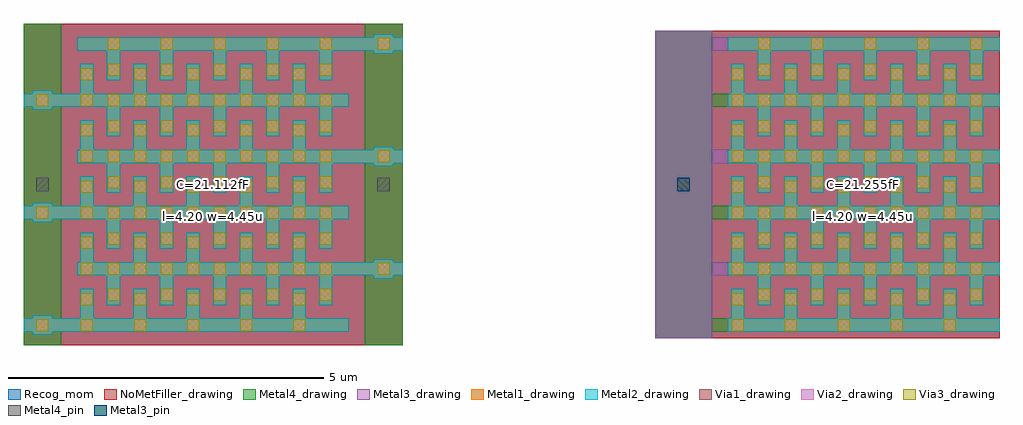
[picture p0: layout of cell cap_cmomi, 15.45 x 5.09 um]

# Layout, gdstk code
import gdstk
lib = gdstk.Library(unit=1e-6, precision=1e-09)
def R(c, l, rs):  # rectangles x0, y0, x1, y1
    for r in rs: c.add(gdstk.rectangle(r[:2], r[2:], *l))
def A(c, l, x, y, w, h, nx, ny, dx, dy):  # array of equal rectangles
    R(c, l, [(x+i*dx, y+j*dy, x+i*dx+w, y+j*dy+h) for i in range(nx) for j in range(ny)])
Metal1_drawing = (8, 0)
Metal2_drawing = (10, 0)
Via1_drawing = (19, 0)
Via2_drawing = (29, 0)
Metal3_drawing = (30, 0)
Metal3_pin = (30, 2)
Via3_drawing = (49, 0)
Metal4_drawing = (50, 0)
Metal4_pin = (50, 2)
Recog_mom = (99, 39)
NoMetFiller_drawing = (160, 0)

cap_cmomi = lib.new_cell('cap_cmomi')
A(cap_cmomi, Metal1_drawing, 0.145, -2.38, 0.31, 0.31, 1, 3, 0, 1.78)
A(cap_cmomi, Metal1_drawing, 0, -2.33, 5.15, 0.21, 1, 3, 0, 1.78)
A(cap_cmomi, Metal1_drawing, 11.15, -2.33, 4.3, 0.21, 1, 6, 0, 0.89)
A(cap_cmomi, Metal1_drawing, 0.9, -2.225, 0.21, 0.575, 5, 5, 0.84, 0.89)
A(cap_cmomi, Metal1_drawing, 11.2, -2.225, 0.21, 0.575, 5, 5, 0.84, 0.89)
A(cap_cmomi, Metal1_drawing, 1.32, -1.91, 0.21, 0.575, 5, 5, 0.84, 0.89)
A(cap_cmomi, Metal1_drawing, 11.62, -1.91, 0.21, 0.575, 5, 5, 0.84, 0.89)
A(cap_cmomi, Metal1_drawing, 5.545, -1.49, 0.31, 0.31, 1, 3, 0, 1.78)
A(cap_cmomi, Metal1_drawing, 0.85, -1.44, 5.15, 0.21, 1, 3, 0, 1.78)
A(cap_cmomi, Metal2_drawing, 0.145, -2.38, 0.31, 0.31, 1, 3, 0, 1.78)
A(cap_cmomi, Metal2_drawing, 0, -2.33, 5.15, 0.21, 1, 3, 0, 1.78)
A(cap_cmomi, Metal2_drawing, 11.15, -2.33, 4.3, 0.21, 1, 6, 0, 0.89)
A(cap_cmomi, Metal2_drawing, 0.9, -2.225, 0.21, 0.575, 5, 5, 0.84, 0.89)
A(cap_cmomi, Metal2_drawing, 11.2, -2.225, 0.21, 0.575, 5, 5, 0.84, 0.89)
A(cap_cmomi, Metal2_drawing, 1.32, -1.91, 0.21, 0.575, 5, 5, 0.84, 0.89)
A(cap_cmomi, Metal2_drawing, 11.62, -1.91, 0.21, 0.575, 5, 5, 0.84, 0.89)
A(cap_cmomi, Metal2_drawing, 5.545, -1.49, 0.31, 0.31, 1, 3, 0, 1.78)
A(cap_cmomi, Metal2_drawing, 0.85, -1.44, 5.15, 0.21, 1, 3, 0, 1.78)
A(cap_cmomi, Via1_drawing, 0.205, -2.32, 0.19, 0.19, 1, 3, 0, 1.78)
A(cap_cmomi, Via1_drawing, 0.91, -2.32, 0.19, 0.19, 5, 2, 0.84, 0.41)
A(cap_cmomi, Via1_drawing, 11.21, -2.32, 0.19, 0.19, 5, 2, 0.84, 0.41)
A(cap_cmomi, Via1_drawing, 1.33, -1.84, 0.19, 0.19, 5, 5, 0.84, 0.89)
A(cap_cmomi, Via1_drawing, 11.63, -1.84, 0.19, 0.19, 5, 5, 0.84, 0.89)
A(cap_cmomi, Via1_drawing, 0.91, -1.43, 0.19, 0.19, 10, 4, 0.42, 0.89)
A(cap_cmomi, Via1_drawing, 5.605, -1.43, 0.19, 0.19, 1, 3, 0, 1.78)
A(cap_cmomi, Via1_drawing, 11.21, -1.43, 0.19, 0.19, 10, 4, 0.42, 0.89)
A(cap_cmomi, Via1_drawing, 0.91, -1.02, 0.19, 0.19, 5, 4, 0.84, 0.89)
A(cap_cmomi, Via1_drawing, 11.21, -1.02, 0.19, 0.19, 5, 4, 0.84, 0.89)
A(cap_cmomi, Via1_drawing, 1.33, 2.13, 0.19, 0.19, 5, 1, 0.84, 0)
A(cap_cmomi, Via1_drawing, 11.63, 2.13, 0.19, 0.19, 5, 1, 0.84, 0)
A(cap_cmomi, Via2_drawing, 0.205, -2.32, 0.19, 0.19, 1, 3, 0, 1.78)
A(cap_cmomi, Via2_drawing, 0.91, -2.32, 0.19, 0.19, 5, 2, 0.84, 0.41)
A(cap_cmomi, Via2_drawing, 11.21, -2.32, 0.19, 0.19, 5, 2, 0.84, 0.41)
A(cap_cmomi, Via2_drawing, 1.33, -1.84, 0.19, 0.19, 5, 5, 0.84, 0.89)
A(cap_cmomi, Via2_drawing, 11.63, -1.84, 0.19, 0.19, 5, 5, 0.84, 0.89)
A(cap_cmomi, Via2_drawing, 0.91, -1.43, 0.19, 0.19, 10, 4, 0.42, 0.89)
A(cap_cmomi, Via2_drawing, 5.605, -1.43, 0.19, 0.19, 1, 3, 0, 1.78)
A(cap_cmomi, Via2_drawing, 11.21, -1.43, 0.19, 0.19, 10, 4, 0.42, 0.89)
A(cap_cmomi, Via2_drawing, 0.91, -1.02, 0.19, 0.19, 5, 4, 0.84, 0.89)
A(cap_cmomi, Via2_drawing, 11.21, -1.02, 0.19, 0.19, 5, 4, 0.84, 0.89)
A(cap_cmomi, Via2_drawing, 1.33, 2.13, 0.19, 0.19, 5, 1, 0.84, 0)
A(cap_cmomi, Via2_drawing, 11.63, 2.13, 0.19, 0.19, 5, 1, 0.84, 0)
A(cap_cmomi, Metal3_drawing, 0.145, -2.38, 0.31, 0.31, 1, 3, 0, 1.78)
A(cap_cmomi, Metal3_drawing, 0, -2.33, 5.15, 0.21, 1, 3, 0, 1.78)
A(cap_cmomi, Metal3_drawing, 11.15, -2.33, 4.3, 0.21, 1, 3, 0, 1.78)
A(cap_cmomi, Metal3_drawing, 0.9, -2.225, 0.21, 0.575, 5, 5, 0.84, 0.89)
A(cap_cmomi, Metal3_drawing, 11.2, -2.225, 0.21, 0.575, 5, 5, 0.84, 0.89)
A(cap_cmomi, Metal3_drawing, 1.32, -1.91, 0.21, 0.575, 5, 5, 0.84, 0.89)
A(cap_cmomi, Metal3_drawing, 11.62, -1.91, 0.21, 0.575, 5, 5, 0.84, 0.89)
A(cap_cmomi, Metal3_drawing, 5.545, -1.49, 0.31, 0.31, 1, 3, 0, 1.78)
A(cap_cmomi, Metal3_drawing, 0.85, -1.44, 5.15, 0.21, 1, 3, 0, 1.78)
A(cap_cmomi, Metal3_drawing, 10, -1.44, 5.45, 0.21, 1, 3, 0, 1.78)
R(cap_cmomi, Metal3_drawing, [(10,-2.435,10.9,2.435)])
R(cap_cmomi, Metal3_pin, [(10.35,-0.105,10.55,0.105)])
A(cap_cmomi, Via3_drawing, 0.205, -2.32, 0.19, 0.19, 1, 3, 0, 1.78)
A(cap_cmomi, Via3_drawing, 0.91, -2.32, 0.19, 0.19, 5, 2, 0.84, 0.41)
A(cap_cmomi, Via3_drawing, 11.21, -2.32, 0.19, 0.19, 5, 2, 0.84, 0.41)
A(cap_cmomi, Via3_drawing, 1.33, -1.84, 0.19, 0.19, 5, 5, 0.84, 0.89)
A(cap_cmomi, Via3_drawing, 11.63, -1.84, 0.19, 0.19, 5, 5, 0.84, 0.89)
A(cap_cmomi, Via3_drawing, 0.91, -1.43, 0.19, 0.19, 10, 4, 0.42, 0.89)
A(cap_cmomi, Via3_drawing, 5.605, -1.43, 0.19, 0.19, 1, 3, 0, 1.78)
A(cap_cmomi, Via3_drawing, 11.21, -1.43, 0.19, 0.19, 10, 4, 0.42, 0.89)
A(cap_cmomi, Via3_drawing, 0.91, -1.02, 0.19, 0.19, 5, 4, 0.84, 0.89)
A(cap_cmomi, Via3_drawing, 11.21, -1.02, 0.19, 0.19, 5, 4, 0.84, 0.89)
A(cap_cmomi, Via3_drawing, 1.33, 2.13, 0.19, 0.19, 5, 1, 0.84, 0)
A(cap_cmomi, Via3_drawing, 11.63, 2.13, 0.19, 0.19, 5, 1, 0.84, 0)
A(cap_cmomi, Metal4_drawing, 0, -2.33, 5.15, 0.21, 1, 3, 0, 1.78)
A(cap_cmomi, Metal4_drawing, 10, -2.33, 5.45, 0.21, 1, 3, 0, 1.78)
A(cap_cmomi, Metal4_drawing, 0.9, -2.225, 0.21, 0.575, 5, 5, 0.84, 0.89)
A(cap_cmomi, Metal4_drawing, 11.2, -2.225, 0.21, 0.575, 5, 5, 0.84, 0.89)
A(cap_cmomi, Metal4_drawing, 1.32, -1.91, 0.21, 0.575, 5, 5, 0.84, 0.89)
A(cap_cmomi, Metal4_drawing, 11.62, -1.91, 0.21, 0.575, 5, 5, 0.84, 0.89)
A(cap_cmomi, Metal4_drawing, 0.85, -1.44, 5.15, 0.21, 1, 3, 0, 1.78)
A(cap_cmomi, Metal4_drawing, 11.15, -1.44, 4.3, 0.21, 1, 3, 0, 1.78)
R(cap_cmomi, Metal4_drawing, [(0,-2.545,0.6,2.545), (5.4,-2.545,6,2.545), (10,-2.435,10.9,2.435)])
R(cap_cmomi, Metal4_pin, [(0.2,-0.105,0.4,0.105), (5.6,-0.105,5.8,0.105), (10.35,-0.105,10.55,0.105)])
R(cap_cmomi, Recog_mom, [(0,-2.545,6,2.545), (10,-2.435,15.45,2.435)])
R(cap_cmomi, NoMetFiller_drawing, [(0,-2.545,6,2.545), (10,-2.435,15.45,2.435)])
cap_cmomi.add(gdstk.Label('C=21.112fF', (3,0), layer=63, texttype=0))
cap_cmomi.add(gdstk.Label('cap_cmomi', (3,0), layer=63, texttype=0))
cap_cmomi.add(gdstk.Label('l=4.20 w=4.45u', (3,-0.5), layer=63, texttype=0))
cap_cmomi.add(gdstk.Label('C=21.255fF', (13.3,0), layer=63, texttype=0))
cap_cmomi.add(gdstk.Label('cap_cmomi', (13.3,0), layer=63, texttype=0))
cap_cmomi.add(gdstk.Label('l=4.20 w=4.45u', (13.3,-0.5), layer=63, texttype=0))

lib.write_gds('cap_cmomi.gds')
